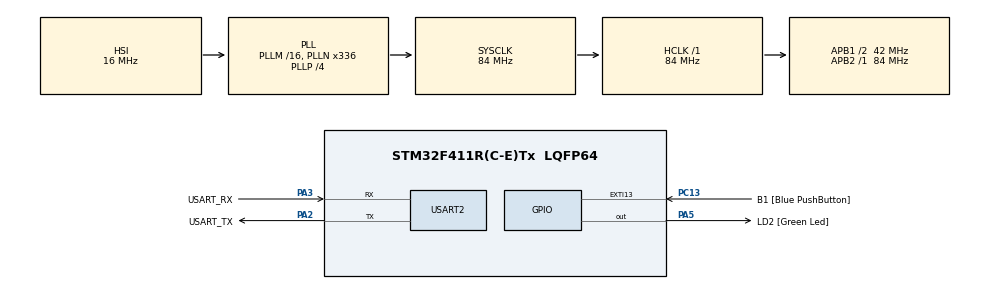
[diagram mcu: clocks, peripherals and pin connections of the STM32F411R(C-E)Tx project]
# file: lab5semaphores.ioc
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FREERTOS.Tasks01=defaultTask,24,128,StartDefaultTask,Default,NULL,Dynamic,NULL,NULL;myTask02,24,128,StartTask02,Default,NULL,Dynamic,NULL,NULL;myTask03,24,128,StartTask03,Default,NULL,Dynamic,NULL,NULL;myTask04,24,128,StartTask04,Default,NULL,Dynamic,NULL,NULL;myTask05,24,128,StartTask05,Default,NULL,Dynamic,NULL,NULL
FREERTOS.configUSE_NEWLIB_REENTRANT=1
Mcu.Family=STM32F4
Mcu.Name=STM32F411R(C-E)Tx
Mcu.Package=LQFP64
NVIC.PriorityGroup=NVIC_PRIORITYGROUP_4
NVIC.TIM1_BRK_TIM9_IRQn=true\:15\:0\:false\:false\:true\:false\:false\:true\:true
NVIC.TimeBase=TIM1_BRK_TIM9_IRQn
NVIC.TimeBaseIP=TIM9
PA13.GPIO_Label=TMS
PA13.Mode=Serial_Wire
PA13.Signal=SYS_JTMS-SWDIO
PA14.GPIO_Label=TCK
PA14.Mode=Serial_Wire
PA14.Signal=SYS_JTCK-SWCLK
PA2.GPIO_Label=USART_TX
PA2.Mode=Asynchronous
PA2.Signal=USART2_TX
PA3.GPIO_Label=USART_RX
PA3.Mode=Asynchronous
PA3.Signal=USART2_RX
PA5.GPIO_Label=LD2 [Green Led]
PA5.Signal=GPIO_Output
PB3.GPIO_Label=SWO
PB3.Signal=SYS_JTDO-SWO
PC13-ANTI_TAMP.GPIO_Label=B1 [Blue PushButton]
PC13-ANTI_TAMP.GPIO_ModeDefaultEXTI=GPIO_MODE_IT_FALLING
PC13-ANTI_TAMP.Signal=GPXTI13
PC14-OSC32_IN.Mode=LSE-External-Oscillator
PC14-OSC32_IN.Signal=RCC_OSC32_IN
PC15-OSC32_OUT.Mode=LSE-External-Oscillator
PC15-OSC32_OUT.Signal=RCC_OSC32_OUT
PH0\ -\ OSC_IN.Mode=HSE-External-Clock-Source
PH0\ -\ OSC_IN.Signal=RCC_OSC_IN
PH1\ -\ OSC_OUT.Mode=HSE-External-Clock-Source
PH1\ -\ OSC_OUT.Signal=RCC_OSC_OUT
ProjectManager.HeapSize=0x200
ProjectManager.StackSize=0x400
ProjectManager.TargetToolchain=STM32CubeIDE
RCC.48MHZClocksFreq_Value=84000000
RCC.AHBFreq_Value=84000000
RCC.APB1CLKDivider=RCC_HCLK_DIV2
RCC.APB1Freq_Value=42000000
RCC.APB1TimFreq_Value=84000000
RCC.APB2Freq_Value=84000000
RCC.APB2TimFreq_Value=84000000
RCC.CortexFreq_Value=84000000
RCC.FLatency-AdvancedSettings=FLASH_LATENCY_2
RCC.HCLKFreq_Value=84000000
RCC.HSE_VALUE=8000000
RCC.HSI_VALUE=16000000
RCC.PLLN=336
RCC.PLLP=RCC_PLLP_DIV4
RCC.SYSCLKFreq_VALUE=84000000
RCC.SYSCLKSource=RCC_SYSCLKSOURCE_PLLCLK
RCC.VCOOutputFreq_Value=336000000
USART2.VirtualMode=VM_ASYNC
VP_FREERTOS_VS_CMSIS_V2.Mode=CMSIS_V2
VP_SYS_VS_tim9.Mode=TIM9
board=NUCLEO-F411RE

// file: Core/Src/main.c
/* USER CODE BEGIN Header */
/**
  ******************************************************************************
  * @file           : main.c
  * @brief          : Main program body
  ******************************************************************************
  * @attention
  *
  * Copyright (c) 2023 STMicroelectronics.
  * All rights reserved.
  *
  * This software is licensed under terms that can be found in the LICENSE file
  * in the root directory of this software component.
  * If no LICENSE file comes with this software, it is provided AS-IS.
  *
  ******************************************************************************
  */
/* USER CODE END Header */
#include "main.h"
#include "cmsis_os.h"
#include <stdio.h>
#include <stdlib.h>
/* USER CODE BEGIN Includes */
static int sharedVar = 0;
osSemaphoreId_t semaphore;
/* USER CODE END Includes */

UART_HandleTypeDef huart2;

/* Definitions for defaultTask */
osThreadId_t defaultTaskHandle;
const osThreadAttr_t defaultTask_attributes = {
  .name = "defaultTask",
  .stack_size = 128 * 4,
  .priority = (osPriority_t) osPriorityNormal,
};
/* Definitions for myTask02 */
osThreadId_t myTask02Handle;
const osThreadAttr_t myTask02_attributes = {
  .name = "myTask02",
  .stack_size = 128 * 4,
  .priority = (osPriority_t) osPriorityNormal,
};
/* Definitions for myTask03 */
osThreadId_t myTask03Handle;
const osThreadAttr_t myTask03_attributes = {
  .name = "myTask03",
  .stack_size = 128 * 4,
  .priority = (osPriority_t) osPriorityNormal,
};
/* Definitions for myTask04 */
osThreadId_t myTask04Handle;
const osThreadAttr_t myTask04_attributes = {
  .name = "myTask04",
  .stack_size = 128 * 4,
  .priority = (osPriority_t) osPriorityNormal,
};
/* Definitions for myTask05 */
osThreadId_t myTask05Handle;
const osThreadAttr_t myTask05_attributes = {
  .name = "myTask05",
  .stack_size = 128 * 4,
  .priority = (osPriority_t) osPriorityNormal,
};

void SystemClock_Config(void);
static void MX_GPIO_Init(void);
static void MX_USART2_UART_Init(void);
void StartDefaultTask(void *argument);
void StartTask02(void *argument);
void StartTask03(void *argument);
void StartTask04(void *argument);
void StartTask05(void *argument);

/* USER CODE BEGIN PFP */
int __io_putchar(int ch)
{
	HAL_UART_Transmit(&huart2,(uint8_t*)&ch,1,HAL_MAX_DELAY);
	return ch;
}

/* USER CODE END PFP */

int main(void)
{

  /* MCU Configuration--------------------------------------------------------*/

  /* Reset of all peripherals, Initializes the Flash interface and the Systick. */
  HAL_Init();

  /* Configure the system clock */
  SystemClock_Config();

  /* Initialize all configured peripherals */
  MX_GPIO_Init();
  MX_USART2_UART_Init();

  /* Init scheduler */
  osKernelInitialize();

  /* USER CODE BEGIN RTOS_SEMAPHORES */
  /* add semaphores, ... */

  semaphore = xSemaphoreCreateBinary();
  /* USER CODE END RTOS_SEMAPHORES */

  /* Create the thread(s) */
  /* creation of defaultTask */
  defaultTaskHandle = osThreadNew(StartDefaultTask, NULL, &defaultTask_attributes);

  /* creation of myTask02 */
  myTask02Handle = osThreadNew(StartTask02, NULL, &myTask02_attributes);

  /* creation of myTask03 */
  myTask03Handle = osThreadNew(StartTask03, NULL, &myTask03_attributes);

  /* creation of myTask04 */
  myTask04Handle = osThreadNew(StartTask04, NULL, &myTask04_attributes);

  /* creation of myTask05 */
  myTask05Handle = osThreadNew(StartTask05, NULL, &myTask05_attributes);

  /* Start scheduler */
  osKernelStart();
  /* We should never get here as control is now taken by the scheduler */
  /* Infinite loop */
  while (1)
  {

  }
}

void SystemClock_Config(void)
{
  RCC_OscInitTypeDef RCC_OscInitStruct = {0};
  RCC_ClkInitTypeDef RCC_ClkInitStruct = {0};

  /** Configure the main internal regulator output voltage
  */
  __HAL_RCC_PWR_CLK_ENABLE();
  __HAL_PWR_VOLTAGESCALING_CONFIG(PWR_REGULATOR_VOLTAGE_SCALE1);

  /** Initializes the RCC Oscillators according to the specified parameters
  * in the RCC_OscInitTypeDef structure.
  */
  RCC_OscInitStruct.OscillatorType = RCC_OSCILLATORTYPE_HSI;
  RCC_OscInitStruct.HSIState = RCC_HSI_ON;
  RCC_OscInitStruct.HSICalibrationValue = RCC_HSICALIBRATION_DEFAULT;
  RCC_OscInitStruct.PLL.PLLState = RCC_PLL_ON;
  RCC_OscInitStruct.PLL.PLLSource = RCC_PLLSOURCE_HSI;
  RCC_OscInitStruct.PLL.PLLM = 16;
  RCC_OscInitStruct.PLL.PLLN = 336;
  RCC_OscInitStruct.PLL.PLLP = RCC_PLLP_DIV4;
  RCC_OscInitStruct.PLL.PLLQ = 4;
  if (HAL_RCC_OscConfig(&RCC_OscInitStruct) != HAL_OK)
  {
    Error_Handler();
  }

  /** Initializes the CPU, AHB and APB buses clocks
  */
  RCC_ClkInitStruct.ClockType = RCC_CLOCKTYPE_HCLK|RCC_CLOCKTYPE_SYSCLK
                              |RCC_CLOCKTYPE_PCLK1|RCC_CLOCKTYPE_PCLK2;
  RCC_ClkInitStruct.SYSCLKSource = RCC_SYSCLKSOURCE_PLLCLK;
  RCC_ClkInitStruct.AHBCLKDivider = RCC_SYSCLK_DIV1;
  RCC_ClkInitStruct.APB1CLKDivider = RCC_HCLK_DIV2;
  RCC_ClkInitStruct.APB2CLKDivider = RCC_HCLK_DIV1;

  if (HAL_RCC_ClockConfig(&RCC_ClkInitStruct, FLASH_LATENCY_2) != HAL_OK)
  {
    Error_Handler();
  }
}

static void MX_USART2_UART_Init(void)
{

  huart2.Instance = USART2;
  huart2.Init.BaudRate = 115200;
  huart2.Init.WordLength = UART_WORDLENGTH_8B;
  huart2.Init.StopBits = UART_STOPBITS_1;
  huart2.Init.Parity = UART_PARITY_NONE;
  huart2.Init.Mode = UART_MODE_TX_RX;
  huart2.Init.HwFlowCtl = UART_HWCONTROL_NONE;
  huart2.Init.OverSampling = UART_OVERSAMPLING_16;
  if (HAL_UART_Init(&huart2) != HAL_OK)
  {
    Error_Handler();
  }

}

static void MX_GPIO_Init(void)
{
  GPIO_InitTypeDef GPIO_InitStruct = {0};

  /* GPIO Ports Clock Enable */
  __HAL_RCC_GPIOC_CLK_ENABLE();
  __HAL_RCC_GPIOH_CLK_ENABLE();
  __HAL_RCC_GPIOA_CLK_ENABLE();
  __HAL_RCC_GPIOB_CLK_ENABLE();

  /*Configure GPIO pin Output Level */
  HAL_GPIO_WritePin(LD2_GPIO_Port, LD2_Pin, GPIO_PIN_RESET);

  /*Configure GPIO pin : B1_Pin */
  GPIO_InitStruct.Pin = B1_Pin;
  GPIO_InitStruct.Mode = GPIO_MODE_IT_FALLING;
  GPIO_InitStruct.Pull = GPIO_NOPULL;
  HAL_GPIO_Init(B1_GPIO_Port, &GPIO_InitStruct);

  /*Configure GPIO pin : LD2_Pin */
  GPIO_InitStruct.Pin = LD2_Pin;
  GPIO_InitStruct.Mode = GPIO_MODE_OUTPUT_PP;
  GPIO_InitStruct.Pull = GPIO_NOPULL;
  GPIO_InitStruct.Speed = GPIO_SPEED_FREQ_LOW;
  HAL_GPIO_Init(LD2_GPIO_Port, &GPIO_InitStruct);

}

void StartDefaultTask(void *argument)
{
  /* USER CODE BEGIN 5 */
	for(;;)
	  {
		  xSemaphoreGive(semaphore);
		  int local_var = sharedVar;
		  local_var++;
		  sharedVar = local_var;
		  osDelay(500);
		  printf("Taken %d\r\n", local_var);
		  osDelay(500);
		  xSemaphoreTake(semaphore, portMAX_DELAY);
		  osDelay(500);
		  printf("Given %d\r\n", local_var);
		  osDelay(500);
	  }
	  /* USER CODE END 5 */
	  osThreadTerminate(NULL);
}

void StartTask02(void *argument)
{

  /* Infinite loop */
  for(;;)
  {
	  xSemaphoreGive(semaphore);
	  int other_var = sharedVar;
	  other_var++;
	  sharedVar = other_var;
	  osDelay(500);
	  printf("Taken  %d\r\n", other_var);
	  osDelay(500);
	  xSemaphoreTake(semaphore, portMAX_DELAY);
	  osDelay(500);
	  printf("Given %d\r\n", other_var);
	  osDelay(500);
  }
  osThreadTerminate(NULL);
  /* USER CODE END StartTask02 */
}

/* USER CODE BEGIN Header_StartTask03 */

void HAL_TIM_PeriodElapsedCallback(TIM_HandleTypeDef *htim)
{
  if (htim->Instance == TIM9) {
    HAL_IncTick();
  }
}

void Error_Handler(void)
{
  __disable_irq();
  while (1)
  {
  }
}
